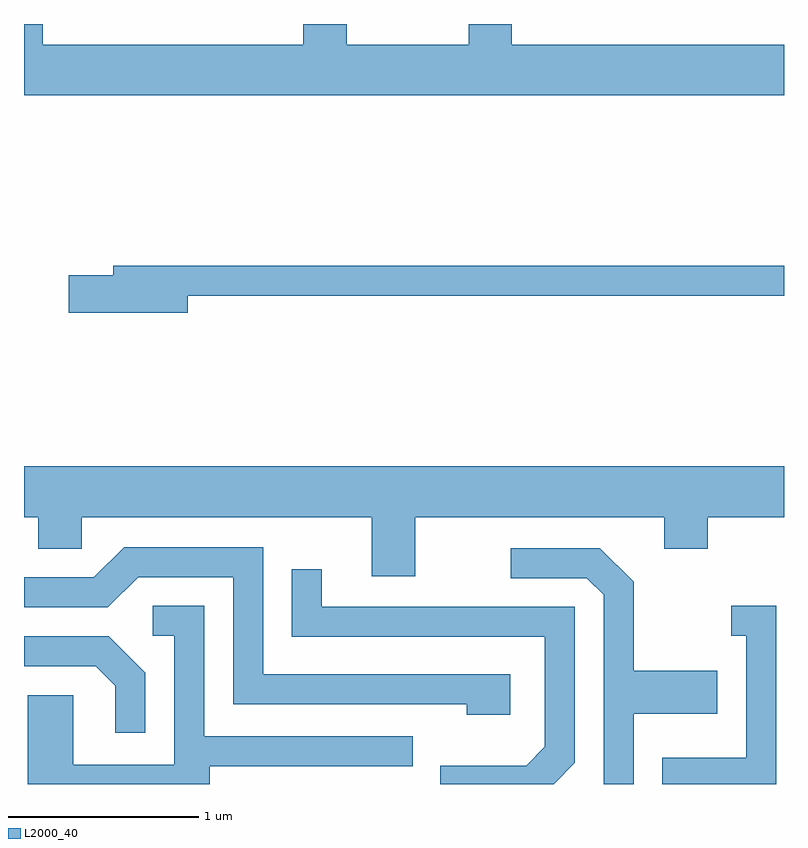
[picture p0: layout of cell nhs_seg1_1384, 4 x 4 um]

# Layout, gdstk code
import gdstk
lib = gdstk.Library(unit=1e-6, precision=1e-09)
def P(c, l, *ps):  # polygons
    for p in ps: c.add(gdstk.Polygon(p, *l))
L2000_40 = (2000, 40)

nhs_seg1_1384 = lib.new_cell('nhs_seg1_1384')
P(nhs_seg1_1384, L2000_40, [(231.611,917.604),(230.179,917.604),(230.179,917.712),(229.951,917.712),(229.951,917.604),(229.309,917.604),(229.309,917.712),(229.081,917.712),(229.081,917.604),(227.709,917.604),(227.709,917.712),(227.611,917.712),(227.611,917.336),(231.611,917.336)],
  [(228.474,916.281),(231.611,916.281),(231.611,916.439),(228.081,916.439),(228.081,916.389),(227.846,916.389),(227.846,916.191),(228.474,916.191)],
  [(229.669,915.116),(230.981,915.116),(230.981,914.951),(231.209,914.951),(231.209,915.116),(231.611,915.116),(231.611,915.384),(227.611,915.384),(227.611,915.116),(227.686,915.116),(227.686,914.951),(227.914,914.951),(227.914,915.116),(229.441,915.116),(229.441,914.806),(229.669,914.806)],
  [(230.169,914.289),(228.869,914.289),(228.869,914.959),(228.139,914.959),(227.979,914.799),(227.611,914.799),(227.611,914.641),(228.052,914.641),(228.212,914.801),(228.711,914.801),(228.711,914.131),(229.941,914.131),(229.941,914.076),(230.169,914.076)],
  [(230.819,914.081),(231.259,914.081),(231.259,914.309),(230.819,914.309),(230.819,914.777),(230.642,914.954),(230.173,914.954),(230.173,914.796),(230.574,914.796),(230.661,914.709),(230.661,913.712),(230.819,913.712)],
  [(230.509,913.824),(230.509,914.644),(229.179,914.644),(229.179,914.843),(229.021,914.843),(229.021,914.486),(230.351,914.486),(230.351,913.907),(230.254,913.809),(229.801,913.809),(229.801,913.712),(230.398,913.712)],
  [(228.589,913.806),(229.658,913.806),(229.658,913.964),(228.559,913.964),(228.559,914.649),(228.288,914.649),(228.288,914.491),(228.401,914.491),(228.401,913.814),(227.869,913.814),(227.869,914.179),(227.631,914.179),(227.631,913.712),(228.589,913.712)],
  [(231.569,914.649),(231.333,914.649),(231.333,914.491),(231.411,914.491),(231.411,913.849),(230.971,913.849),(230.971,913.712),(231.569,913.712)],
  [(228.249,914.297),(228.057,914.489),(227.611,914.489),(227.611,914.331),(227.989,914.331),(228.091,914.229),(228.091,913.983),(228.249,913.983)])

lib.write_gds('nhs_seg1_1384.gds')
